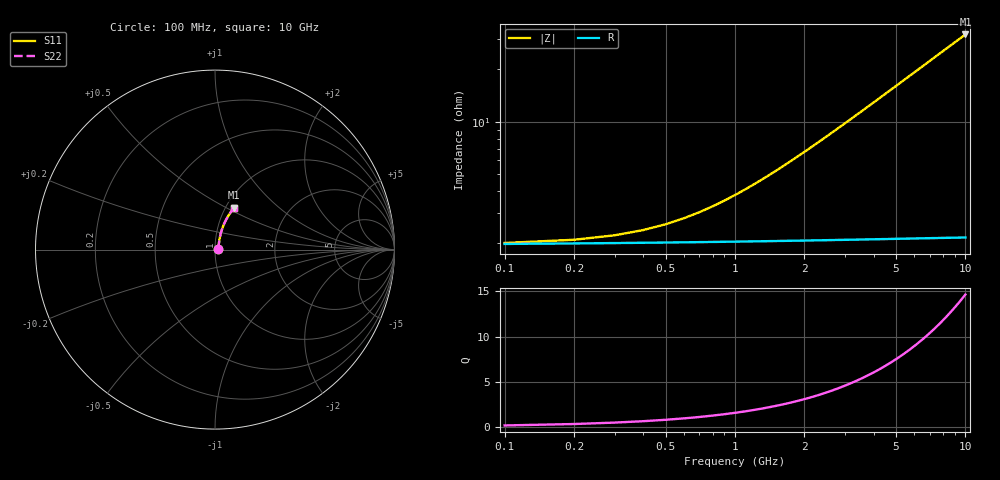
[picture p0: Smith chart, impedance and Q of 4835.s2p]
# Hz S RI R 50.00
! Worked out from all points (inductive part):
!   100 points, 100 MHz to 10 GHz, reference 50 ohm
!   read as one part in series: L = 508 pH near 2 GHz
!   highest Q = 14.7 at 10 GHz (marker M1), where L = 504 pH
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1e8  0.0195 0.00261  0.9805 -0.00353  0.9805 -0.00353  0.0195 0.00261
2e8  0.0196 0.00521  0.9804 -0.00706  0.9804 -0.00706  0.0196 0.00521
3e8  0.0198 0.00782  0.9802 -0.0106  0.9802 -0.0106  0.0198 0.00782
4e8  0.0199 0.0104  0.9801 -0.0141  0.9801 -0.0141  0.0199 0.0104
6e8  0.0202 0.0156  0.9798 -0.0212  0.9798 -0.0212  0.0202 0.0156
1e9  0.021 0.026  0.9789 -0.0352  0.9789 -0.0352  0.021 0.026
1.2e9  0.0215 0.0312  0.9784 -0.0423  0.9784 -0.0423  0.0215 0.0312
1.5e9  0.0223 0.039  0.9776 -0.0528  0.9776 -0.0528  0.0223 0.039
1.8e9  0.0233 0.0467  0.9765 -0.0633  0.9765 -0.0633  0.0233 0.0467
2.1e9  0.0245 0.0544  0.9753 -0.0738  0.9753 -0.0738  0.0245 0.0544
2.5e9  0.0263 0.0646  0.9734 -0.0877  0.9734 -0.0877  0.0263 0.0646
2.9e9  0.0284 0.0748  0.9712 -0.1015  0.9712 -0.1015  0.0284 0.0748
3.4e9  0.0314 0.0873  0.9681 -0.1187  0.9681 -0.1187  0.0314 0.0873
3.8e9  0.0341 0.0973  0.9653 -0.1324  0.9653 -0.1324  0.0341 0.0973
4.2e9  0.0371 0.1071  0.9621 -0.146  0.9621 -0.146  0.0371 0.1071
4.6e9  0.0403 0.1169  0.9587 -0.1594  0.9587 -0.1594  0.0403 0.1169
5.1e9  0.0447 0.1289  0.9541 -0.1761  0.9541 -0.1761  0.0447 0.1289
5.9e9  0.0527 0.1477  0.9458 -0.2023  0.9458 -0.2023  0.0527 0.1477
6.7e9  0.0616 0.1659  0.9364 -0.2279  0.9364 -0.2279  0.0616 0.1659
7.5e9  0.0715 0.1835  0.926 -0.253  0.926 -0.253  0.0715 0.1835
8.4e9  0.0836 0.2024  0.9133 -0.2803  0.9133 -0.2803  0.0836 0.2024
1e10  0.1077 0.2336  0.8879 -0.3265  0.8879 -0.3265  0.1077 0.2336
